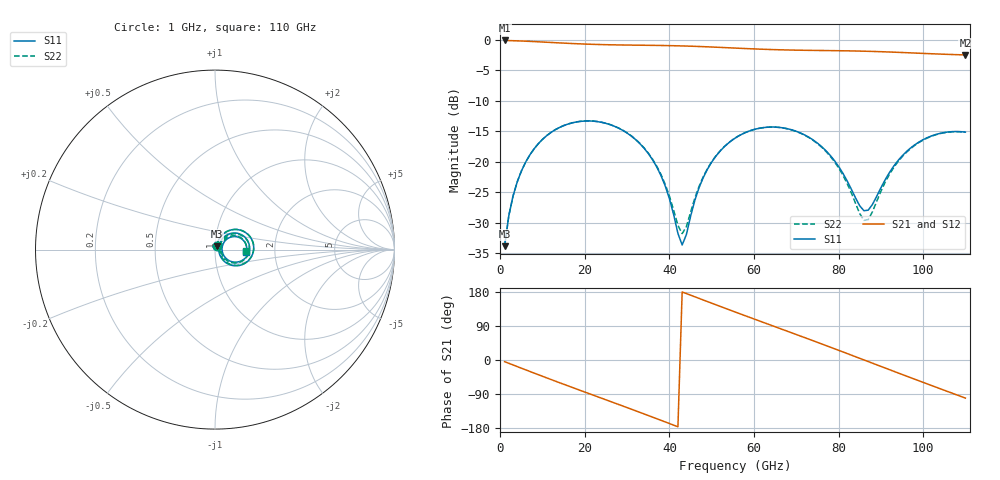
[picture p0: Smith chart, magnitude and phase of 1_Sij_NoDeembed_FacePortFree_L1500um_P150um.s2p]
! Touchstone file exported from HFSS 2024.2.0
!  File:  C:/Users/vaintrug/Documents/Ansoft_Workspace/Comparaison_Calculs_HFSS/1_VarPort.aedt
!  Generated:  03:22:16 PM Jan 21, 2025
!  Design:  1_NoDeembed_FacePortFree
!  Project:  1_VarPort
!  Setup:  Setup1
!  Solution:  Sweep
! Variables:
!  $Lenght = 1500um
!  $PortSize = 150um
!  Gap = 30um
!  Th = 2um
!  X_centralStrip = 20um
!  X_masse = 200um
!  Y_Sub = 1.5mm
!  Z_Box = 400um
!  Z_Sub = 200um
# GHz S MA R 50.000000
! Terminal data exported
! Port[1] = 1
! Port[2] = 2
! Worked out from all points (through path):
!   110 points, 1 GHz to 110 GHz, reference 50 ohm
!   highest |S21| = -0.10 dB at 1 GHz (marker M1); lowest = -2.5 dB at 110 GHz (marker M2)
!   group delay of S21, straight-line fit = 11.6 ps
!   lowest |S11| = -33.8 dB at 1 GHz (marker M3), VSWR 1.04, Z = 50.9 + j1.83 ohm
!   |S11| at or under -10 dB: start of sweep to end of sweep
!   |S22| runs from -33.8 to -13.3 dB; largest |S21 - S12| = 1.6e-14
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1  0.02031 62.2  0.9891 -4.4  0.9891 -4.4  0.02031 62.2
! Gamma 5.99850148350654 50.2071364121034 6.02762971583479 50.2738333983466
! Port Impedance 50 0 50 0
2  0.03621 69.4  0.9866 -8.8  0.9866 -8.8  0.03621 69.5
3  0.05249 69.9  0.9842 -13.1  0.9842 -13.1  0.0525 69.9
7  0.1143 58.4  0.9718 -30.3  0.9718 -30.3  0.1143 58.6
14  0.1913 31.2  0.9444 -59.9  0.9444 -59.9  0.1915 31.5
20  0.216 7.8  0.9241 -84.7  0.9241 -84.7  0.2162 8.3
29  0.1806 -25.9  0.9078 -121.6  0.9078 -121.6  0.1812 -24.9
34  0.1291 -42.9  0.9034 -142.4  0.9034 -142.4  0.13 -41.2
38  0.07699 -52.5  0.8996 -159.2  0.8996 -159.2  0.07861 -49.4
43  0.02077 0.7  0.8919 179.6  0.8919 179.6  0.02576 0.1
47  0.06132 56.2  0.8825 162.6  0.8825 162.6  0.06291 51.5
49  0.08717 54.3  0.8769 154.1  0.8769 154.1  0.08817 50.9
56  0.1601 33.8  0.855 124.8  0.855 124.8  0.1604 31.7
65  0.1926 2.7  0.8314 87.8  0.8314 87.8  0.1923 0.9
74  0.1509 -26.4  0.8197 50.7  0.8197 50.7  0.1498 -28.7
80  0.09168 -38.6  0.8149 25.6  0.8149 25.6  0.0893 -42.4
86  0.03969 -4.8  0.8075 0.2  0.8075 0.2  0.03307 -6.3
87  0.04009 10.6  0.8058 -4.1  0.8058 -4.1  0.03353 12.9
92  0.08128 41.4  0.7954 -25.3  0.7954 -25.3  0.07844 45.8
96  0.1207 36.5  0.7852 -42.2  0.7852 -42.2  0.1191 39.6
101  0.1578 23.1  0.772 -63.2  0.772 -63.2  0.1568 25.5
110  0.1751 -5.1  0.7527 -100.5  0.7527 -100.5  0.1747 -3.2
